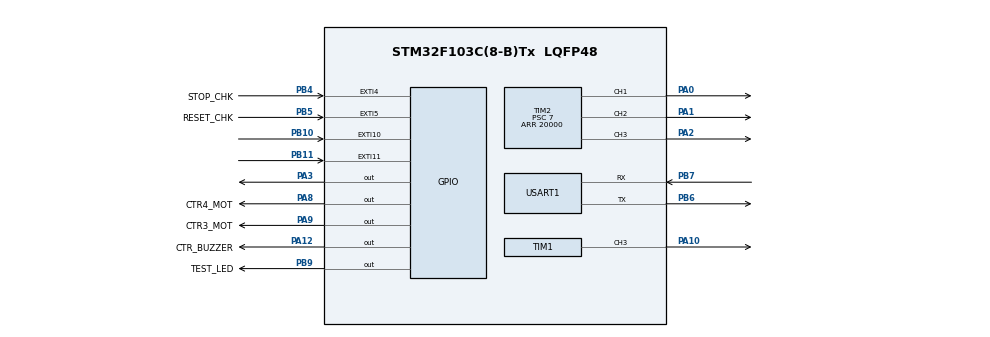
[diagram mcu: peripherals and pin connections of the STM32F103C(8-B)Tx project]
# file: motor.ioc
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FREERTOS.Tasks01=defaultTask,0,200,StartDefaultTask,Default,NULL,Dynamic,NULL,NULL;motorTask,0,200,motorTaskF,As external,NULL,Dynamic,NULL,NULL
Mcu.Family=STM32F1
Mcu.Name=STM32F103C(8-B)Tx
Mcu.Package=LQFP48
NVIC.EXTI15_10_IRQn=true\:5\:0\:true\:false\:true\:false\:true
NVIC.EXTI4_IRQn=true\:5\:0\:false\:false\:true\:true\:true
NVIC.EXTI9_5_IRQn=true\:5\:0\:false\:false\:true\:true\:true
NVIC.PriorityGroup=NVIC_PRIORITYGROUP_4
PA0-WKUP.Signal=S_TIM2_CH1_ETR
PA1.Signal=S_TIM2_CH2
PA10.Signal=S_TIM1_CH3
PA12.GPIO_Label=CTR_BUZZER
PA12.Signal=GPIO_Output
PA13.Mode=Serial_Wire
PA13.Signal=SYS_JTMS-SWDIO
PA14.Mode=Serial_Wire
PA14.Signal=SYS_JTCK-SWCLK
PA2.Signal=S_TIM2_CH3
PA3.Signal=GPIO_Output
PA8.GPIO_Label=CTR4_MOT
PA8.Signal=GPIO_Output
PA9.GPIO_Label=CTR3_MOT
PA9.Signal=GPIO_Output
PB10.GPIO_ModeDefaultEXTI=GPIO_MODE_IT_RISING_FALLING
PB10.GPIO_PuPd=GPIO_PULLDOWN
PB10.Signal=GPXTI10
PB11.GPIO_ModeDefaultEXTI=GPIO_MODE_IT_RISING_FALLING
PB11.GPIO_PuPd=GPIO_PULLDOWN
PB11.Signal=GPXTI11
PB4.GPIO_Label=STOP_CHK
PB4.GPIO_ModeDefaultEXTI=GPIO_MODE_IT_FALLING
PB4.GPIO_PuPd=GPIO_PULLUP
PB4.Signal=GPXTI4
PB5.GPIO_Label=RESET_CHK
PB5.GPIO_ModeDefaultEXTI=GPIO_MODE_IT_FALLING
PB5.GPIO_PuPd=GPIO_PULLUP
PB5.Signal=GPXTI5
PB6.Mode=Asynchronous
PB6.Signal=USART1_TX
PB7.Mode=Asynchronous
PB7.Signal=USART1_RX
PB9.GPIO_Label=TEST_LED
PB9.Signal=GPIO_Output
ProjectManager.HeapSize=0x200
ProjectManager.StackSize=0x400
ProjectManager.TargetToolchain=MDK-ARM V5
RCC.APB1Freq_Value=8000000
RCC.APB2Freq_Value=8000000
SH.S_TIM1_CH3.0=TIM1_CH3,PWM Generation3 CH3
SH.S_TIM2_CH1_ETR.0=TIM2_CH1,PWM Generation1 CH1
SH.S_TIM2_CH2.0=TIM2_CH2,PWM Generation2 CH2
SH.S_TIM2_CH3.0=TIM2_CH3,PWM Generation3 CH3
TIM1.AutoReloadPreload=TIM_AUTORELOAD_PRELOAD_ENABLE
TIM1.Channel-PWM\ Generation3\ CH3=TIM_CHANNEL_3
TIM1.Period=20000
TIM1.Prescaler=7
TIM1.Pulse-PWM\ Generation3\ CH3=2200
TIM2.AutoReloadPreload=TIM_AUTORELOAD_PRELOAD_ENABLE
TIM2.Channel-PWM\ Generation1\ CH1=TIM_CHANNEL_1
TIM2.Channel-PWM\ Generation2\ CH2=TIM_CHANNEL_2
TIM2.Channel-PWM\ Generation3\ CH3=TIM_CHANNEL_3
TIM2.Period=20000
TIM2.Prescaler=7
TIM2.Pulse-PWM\ Generation1\ CH1=1100
TIM2.Pulse-PWM\ Generation2\ CH2=1100
TIM2.Pulse-PWM\ Generation3\ CH3=1900
TIM3.AutoReloadPreload=TIM_AUTORELOAD_PRELOAD_ENABLE
TIM3.CounterMode=TIM_COUNTERMODE_UP
TIM3.Period=6000
TIM3.Prescaler=799
TIM4.AutoReloadPreload=TIM_AUTORELOAD_PRELOAD_ENABLE
TIM4.Period=6000
TIM4.Prescaler=799
USART1.VirtualMode=VM_ASYNC
VP_FREERTOS_VS_ENABLE.Mode=Enabled
VP_RTC_VS_RTC_Activate.Mode=RTC_Enabled
VP_TIM1_VS_ClockSourceINT.Mode=Internal
VP_TIM3_VS_ClockSourceINT.Mode=Internal
VP_TIM4_VS_ClockSourceINT.Mode=Internal
board=motor

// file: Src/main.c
/**
  ******************************************************************************
  * @file           : main.c
  * @brief          : Main program body
  ******************************************************************************
  * This notice applies to any and all portions of this file
  * that are not between comment pairs USER CODE BEGIN and
  * USER CODE END. Other portions of this file, whether
  * inserted by the user or by software development tools
  * are owned by their respective copyright owners.
  *
  * Copyright (c) 2018 STMicroelectronics International N.V.
  * All rights reserved.
  *
  * Redistribution and use in source and binary forms, with or without
  * modification, are permitted, provided that the following conditions are met:
  *
  * 1. Redistribution of source code must retain the above copyright notice,
  *    this list of conditions and the following disclaimer.
  * 2. Redistributions in binary form must reproduce the above copyright notice,
  *    this list of conditions and the following disclaimer in the documentation
  *    and/or other materials provided with the distribution.
  * 3. Neither the name of STMicroelectronics nor the names of other
  *    contributors to this software may be used to endorse or promote products
  *    derived from this software without specific written permission.
  * 4. This software, including modifications and/or derivative works of this
  *    software, must execute solely and exclusively on microcontroller or
  *    microprocessor devices manufactured by or for STMicroelectronics.
  * 5. Redistribution and use of this software other than as permitted under
  *    this license is void and will automatically terminate your rights under
  *    this license.
  *
  * THIS SOFTWARE IS PROVIDED BY STMICROELECTRONICS AND CONTRIBUTORS "AS IS"
  * AND ANY EXPRESS, IMPLIED OR STATUTORY WARRANTIES, INCLUDING, BUT NOT
  * LIMITED TO, THE IMPLIED WARRANTIES OF MERCHANTABILITY, FITNESS FOR A
  * PARTICULAR PURPOSE AND NON-INFRINGEMENT OF THIRD PARTY INTELLECTUAL PROPERTY
  * RIGHTS ARE DISCLAIMED TO THE FULLEST EXTENT PERMITTED BY LAW. IN NO EVENT
  * SHALL STMICROELECTRONICS OR CONTRIBUTORS BE LIABLE FOR ANY DIRECT, INDIRECT,
  * INCIDENTAL, SPECIAL, EXEMPLARY, OR CONSEQUENTIAL DAMAGES (INCLUDING, BUT NOT
  * LIMITED TO, PROCUREMENT OF SUBSTITUTE GOODS OR SERVICES; LOSS OF USE, DATA,
  * OR PROFITS; OR BUSINESS INTERRUPTION) HOWEVER CAUSED AND ON ANY THEORY OF
  * LIABILITY, WHETHER IN CONTRACT, STRICT LIABILITY, OR TORT (INCLUDING
  * NEGLIGENCE OR OTHERWISE) ARISING IN ANY WAY OUT OF THE USE OF THIS SOFTWARE,
  * EVEN IF ADVISED OF THE POSSIBILITY OF SUCH DAMAGE.
  *
  ******************************************************************************
  */
#include "main.h"
#include "stm32f1xx_hal.h"
#include "cmsis_os.h"

/* USER CODE BEGIN Includes */
#include "typedef.h"
#include "signal.h"
#include "servo.h"
#include "command.h"

/* USER CODE END Includes */

RTC_HandleTypeDef hrtc;

TIM_HandleTypeDef htim1;
TIM_HandleTypeDef htim2;
TIM_HandleTypeDef htim3;
TIM_HandleTypeDef htim4;

UART_HandleTypeDef huart1;

osThreadId defaultTaskHandle;
osThreadId motorTaskHandle;

/* USER CODE BEGIN PV */
/* Private variables ---------------------------------------------------------*/
#define TEST_DEBUG 0

/* USER CODE END PV */

void SystemClock_Config(void);
static void MX_GPIO_Init(void);
static void MX_RTC_Init(void);
static void MX_TIM2_Init(void);
static void MX_TIM3_Init(void);
static void MX_TIM1_Init(void);
static void MX_TIM4_Init(void);
static void MX_USART1_UART_Init(void);
void StartDefaultTask(void const * argument);
extern void motorTaskF(void const * argument);

void HAL_TIM_MspPostInit(TIM_HandleTypeDef *htim);

/* USER CODE BEGIN PFP */
/* Private function prototypes -----------------------------------------------*/

/* USER CODE END PFP */

int main(void)
{

  /* MCU Configuration----------------------------------------------------------*/

  /* Reset of all peripherals, Initializes the Flash interface and the Systick. */
  HAL_Init();

  /* Configure the system clock */
  SystemClock_Config();

  /* Initialize all configured peripherals */
  MX_GPIO_Init();
  MX_RTC_Init();
  MX_TIM2_Init();
  MX_TIM3_Init();
  MX_TIM1_Init();

  MX_TIM4_Init();
  MX_USART1_UART_Init();

  /* Create the thread(s) */
  /* definition and creation of defaultTask */
  osThreadDef(defaultTask, StartDefaultTask, osPriorityNormal, 0, 200);
  defaultTaskHandle = osThreadCreate(osThread(defaultTask), NULL);

  /* definition and creation of motorTask */
  osThreadDef(motorTask, motorTaskF, osPriorityNormal, 0, 200);
  motorTaskHandle = osThreadCreate(osThread(motorTask), NULL);

  /* Start scheduler */
  osKernelStart();

  /* We should never get here as control is now taken by the scheduler */

  /* Infinite loop */
  while (1)
  {

  }

}

void SystemClock_Config(void)
{

  RCC_OscInitTypeDef RCC_OscInitStruct;
  RCC_ClkInitTypeDef RCC_ClkInitStruct;
  RCC_PeriphCLKInitTypeDef PeriphClkInit;

    /**Initializes the CPU, AHB and APB busses clocks
    */
  RCC_OscInitStruct.OscillatorType = RCC_OSCILLATORTYPE_HSI|RCC_OSCILLATORTYPE_LSI;
  RCC_OscInitStruct.HSIState = RCC_HSI_ON;
  RCC_OscInitStruct.HSICalibrationValue = 16;
  RCC_OscInitStruct.LSIState = RCC_LSI_ON;
  RCC_OscInitStruct.PLL.PLLState = RCC_PLL_NONE;
  if (HAL_RCC_OscConfig(&RCC_OscInitStruct) != HAL_OK)
  {
    _Error_Handler(__FILE__, __LINE__);
  }

    /**Initializes the CPU, AHB and APB busses clocks
    */
  RCC_ClkInitStruct.ClockType = RCC_CLOCKTYPE_HCLK|RCC_CLOCKTYPE_SYSCLK
                              |RCC_CLOCKTYPE_PCLK1|RCC_CLOCKTYPE_PCLK2;
  RCC_ClkInitStruct.SYSCLKSource = RCC_SYSCLKSOURCE_HSI;
  RCC_ClkInitStruct.AHBCLKDivider = RCC_SYSCLK_DIV1;
  RCC_ClkInitStruct.APB1CLKDivider = RCC_HCLK_DIV1;
  RCC_ClkInitStruct.APB2CLKDivider = RCC_HCLK_DIV1;

  if (HAL_RCC_ClockConfig(&RCC_ClkInitStruct, FLASH_LATENCY_0) != HAL_OK)
  {
    _Error_Handler(__FILE__, __LINE__);
  }

  PeriphClkInit.PeriphClockSelection = RCC_PERIPHCLK_RTC;
  PeriphClkInit.RTCClockSelection = RCC_RTCCLKSOURCE_LSI;
  if (HAL_RCCEx_PeriphCLKConfig(&PeriphClkInit) != HAL_OK)
  {
    _Error_Handler(__FILE__, __LINE__);
  }

    /**Configure the Systick interrupt time
    */
  HAL_SYSTICK_Config(HAL_RCC_GetHCLKFreq()/1000);

    /**Configure the Systick
    */
  HAL_SYSTICK_CLKSourceConfig(SYSTICK_CLKSOURCE_HCLK);

  /* SysTick_IRQn interrupt configuration */
  HAL_NVIC_SetPriority(SysTick_IRQn, 15, 0);
}

/* RTC init function */
static void MX_RTC_Init(void)
{

    /**Initialize RTC Only
    */
  hrtc.Instance = RTC;
  hrtc.Init.AsynchPrediv = RTC_AUTO_1_SECOND;
  hrtc.Init.OutPut = RTC_OUTPUTSOURCE_ALARM;
  if (HAL_RTC_Init(&hrtc) != HAL_OK)
  {
    _Error_Handler(__FILE__, __LINE__);
  }

}

/* TIM1 init function */
static void MX_TIM1_Init(void)
{

  TIM_ClockConfigTypeDef sClockSourceConfig;
  TIM_MasterConfigTypeDef sMasterConfig;
  TIM_OC_InitTypeDef sConfigOC;
  TIM_BreakDeadTimeConfigTypeDef sBreakDeadTimeConfig;

  htim1.Instance = TIM1;
  htim1.Init.Prescaler = 7;
  htim1.Init.CounterMode = TIM_COUNTERMODE_UP;
  htim1.Init.Period = 20000;
  htim1.Init.ClockDivision = TIM_CLOCKDIVISION_DIV1;
  htim1.Init.RepetitionCounter = 0;
  htim1.Init.AutoReloadPreload = TIM_AUTORELOAD_PRELOAD_ENABLE;
  if (HAL_TIM_Base_Init(&htim1) != HAL_OK)
  {
    _Error_Handler(__FILE__, __LINE__);
  }

  sClockSourceConfig.ClockSource = TIM_CLOCKSOURCE_INTERNAL;
  if (HAL_TIM_ConfigClockSource(&htim1, &sClockSourceConfig) != HAL_OK)
  {
    _Error_Handler(__FILE__, __LINE__);
  }

  if (HAL_TIM_PWM_Init(&htim1) != HAL_OK)
  {
    _Error_Handler(__FILE__, __LINE__);
  }

  sMasterConfig.MasterOutputTrigger = TIM_TRGO_RESET;
  sMasterConfig.MasterSlaveMode = TIM_MASTERSLAVEMODE_DISABLE;
  if (HAL_TIMEx_MasterConfigSynchronization(&htim1, &sMasterConfig) != HAL_OK)
  {
    _Error_Handler(__FILE__, __LINE__);
  }

  sConfigOC.OCMode = TIM_OCMODE_PWM1;
  sConfigOC.Pulse = 2200;
  sConfigOC.OCPolarity = TIM_OCPOLARITY_HIGH;
  sConfigOC.OCNPolarity = TIM_OCNPOLARITY_HIGH;
  sConfigOC.OCFastMode = TIM_OCFAST_DISABLE;
  sConfigOC.OCIdleState = TIM_OCIDLESTATE_RESET;
  sConfigOC.OCNIdleState = TIM_OCNIDLESTATE_RESET;
  if (HAL_TIM_PWM_ConfigChannel(&htim1, &sConfigOC, TIM_CHANNEL_3) != HAL_OK)
  {
    _Error_Handler(__FILE__, __LINE__);
  }

  sBreakDeadTimeConfig.OffStateRunMode = TIM_OSSR_DISABLE;
  sBreakDeadTimeConfig.OffStateIDLEMode = TIM_OSSI_DISABLE;
  sBreakDeadTimeConfig.LockLevel = TIM_LOCKLEVEL_OFF;
  sBreakDeadTimeConfig.DeadTime = 0;
  sBreakDeadTimeConfig.BreakState = TIM_BREAK_DISABLE;
  sBreakDeadTimeConfig.BreakPolarity = TIM_BREAKPOLARITY_HIGH;
  sBreakDeadTimeConfig.AutomaticOutput = TIM_AUTOMATICOUTPUT_DISABLE;
  if (HAL_TIMEx_ConfigBreakDeadTime(&htim1, &sBreakDeadTimeConfig) != HAL_OK)
  {
    _Error_Handler(__FILE__, __LINE__);
  }

  HAL_TIM_MspPostInit(&htim1);

}

/* TIM2 init function */
static void MX_TIM2_Init(void)
{

  TIM_MasterConfigTypeDef sMasterConfig;
  TIM_OC_InitTypeDef sConfigOC;

  htim2.Instance = TIM2;
  htim2.Init.Prescaler = 7;
  htim2.Init.CounterMode = TIM_COUNTERMODE_UP;
  htim2.Init.Period = 20000;
  htim2.Init.ClockDivision = TIM_CLOCKDIVISION_DIV1;
  htim2.Init.AutoReloadPreload = TIM_AUTORELOAD_PRELOAD_ENABLE;
  if (HAL_TIM_PWM_Init(&htim2) != HAL_OK)
  {
    _Error_Handler(__FILE__, __LINE__);
  }

  sMasterConfig.MasterOutputTrigger = TIM_TRGO_RESET;
  sMasterConfig.MasterSlaveMode = TIM_MASTERSLAVEMODE_DISABLE;
  if (HAL_TIMEx_MasterConfigSynchronization(&htim2, &sMasterConfig) != HAL_OK)
  {
    _Error_Handler(__FILE__, __LINE__);
  }

  sConfigOC.OCMode = TIM_OCMODE_PWM1;
  sConfigOC.Pulse = 1100;
  sConfigOC.OCPolarity = TIM_OCPOLARITY_HIGH;
  sConfigOC.OCFastMode = TIM_OCFAST_DISABLE;
  if (HAL_TIM_PWM_ConfigChannel(&htim2, &sConfigOC, TIM_CHANNEL_1) != HAL_OK)
  {
    _Error_Handler(__FILE__, __LINE__);
  }

  if (HAL_TIM_PWM_ConfigChannel(&htim2, &sConfigOC, TIM_CHANNEL_2) != HAL_OK)
  {
    _Error_Handler(__FILE__, __LINE__);
  }

  sConfigOC.Pulse = 1900;
  if (HAL_TIM_PWM_ConfigChannel(&htim2, &sConfigOC, TIM_CHANNEL_3) != HAL_OK)
  {
    _Error_Handler(__FILE__, __LINE__);
  }

  HAL_TIM_MspPostInit(&htim2);

}

/* TIM3 init function */
static void MX_TIM3_Init(void)
{

  TIM_ClockConfigTypeDef sClockSourceConfig;
  TIM_MasterConfigTypeDef sMasterConfig;

  htim3.Instance = TIM3;
  htim3.Init.Prescaler = 799;
  htim3.Init.CounterMode = TIM_COUNTERMODE_UP;
  htim3.Init.Period = 6000;
  htim3.Init.ClockDivision = TIM_CLOCKDIVISION_DIV1;
  htim3.Init.AutoReloadPreload = TIM_AUTORELOAD_PRELOAD_ENABLE;
  if (HAL_TIM_Base_Init(&htim3) != HAL_OK)
  {
    _Error_Handler(__FILE__, __LINE__);
  }

  sClockSourceConfig.ClockSource = TIM_CLOCKSOURCE_INTERNAL;
  if (HAL_TIM_ConfigClockSource(&htim3, &sClockSourceConfig) != HAL_OK)
  {
    _Error_Handler(__FILE__, __LINE__);
  }

  sMasterConfig.MasterOutputTrigger = TIM_TRGO_RESET;
  sMasterConfig.MasterSlaveMode = TIM_MASTERSLAVEMODE_DISABLE;
  if (HAL_TIMEx_MasterConfigSynchronization(&htim3, &sMasterConfig) != HAL_OK)
  {
    _Error_Handler(__FILE__, __LINE__);
  }

}

/* TIM4 init function */
static void MX_TIM4_Init(void)
{

  TIM_ClockConfigTypeDef sClockSourceConfig;
  TIM_MasterConfigTypeDef sMasterConfig;

  htim4.Instance = TIM4;
  htim4.Init.Prescaler = 799;
  htim4.Init.CounterMode = TIM_COUNTERMODE_UP;
  htim4.Init.Period = 6000;
  htim4.Init.ClockDivision = TIM_CLOCKDIVISION_DIV1;
  htim4.Init.AutoReloadPreload = TIM_AUTORELOAD_PRELOAD_ENABLE;
  if (HAL_TIM_Base_Init(&htim4) != HAL_OK)
  {
    _Error_Handler(__FILE__, __LINE__);
  }

  sClockSourceConfig.ClockSource = TIM_CLOCKSOURCE_INTERNAL;
  if (HAL_TIM_ConfigClockSource(&htim4, &sClockSourceConfig) != HAL_OK)
  {
    _Error_Handler(__FILE__, __LINE__);
  }

  sMasterConfig.MasterOutputTrigger = TIM_TRGO_RESET;
  sMasterConfig.MasterSlaveMode = TIM_MASTERSLAVEMODE_DISABLE;
  if (HAL_TIMEx_MasterConfigSynchronization(&htim4, &sMasterConfig) != HAL_OK)
  {
    _Error_Handler(__FILE__, __LINE__);
  }

}

/* USART1 init function */
static void MX_USART1_UART_Init(void)
{

  huart1.Instance = USART1;
  huart1.Init.BaudRate = 115200;
  huart1.Init.WordLength = UART_WORDLENGTH_8B;
  huart1.Init.StopBits = UART_STOPBITS_1;
  huart1.Init.Parity = UART_PARITY_NONE;
  huart1.Init.Mode = UART_MODE_TX_RX;
  huart1.Init.HwFlowCtl = UART_HWCONTROL_NONE;
  huart1.Init.OverSampling = UART_OVERSAMPLING_16;
  if (HAL_UART_Init(&huart1) != HAL_OK)
  {
    _Error_Handler(__FILE__, __LINE__);
  }

}

/** Configure pins as
        * Analog
        * Input
        * Output
        * EVENT_OUT
        * EXTI
*/
static void MX_GPIO_Init(void)
{

  GPIO_InitTypeDef GPIO_InitStruct;

  /* GPIO Ports Clock Enable */
  __HAL_RCC_GPIOA_CLK_ENABLE();
  __HAL_RCC_GPIOB_CLK_ENABLE();

  /*Configure GPIO pin Output Level */
  HAL_GPIO_WritePin(GPIOA, GPIO_PIN_3|CTR4_MOT_Pin|CTR3_MOT_Pin|CTR_BUZZER_Pin, GPIO_PIN_RESET);

  /*Configure GPIO pin Output Level */
  HAL_GPIO_WritePin(TEST_LED_GPIO_Port, TEST_LED_Pin, GPIO_PIN_RESET);

  /*Configure GPIO pins : PA3 CTR4_MOT_Pin CTR3_MOT_Pin CTR_BUZZER_Pin */
  GPIO_InitStruct.Pin = GPIO_PIN_3|CTR4_MOT_Pin|CTR3_MOT_Pin|CTR_BUZZER_Pin;
  GPIO_InitStruct.Mode = GPIO_MODE_OUTPUT_PP;
  GPIO_InitStruct.Speed = GPIO_SPEED_FREQ_LOW;
  HAL_GPIO_Init(GPIOA, &GPIO_InitStruct);

  /*Configure GPIO pins : PB10 PB11 */
  GPIO_InitStruct.Pin = GPIO_PIN_10|GPIO_PIN_11;
  GPIO_InitStruct.Mode = GPIO_MODE_IT_RISING_FALLING;
  GPIO_InitStruct.Pull = GPIO_PULLDOWN;
  HAL_GPIO_Init(GPIOB, &GPIO_InitStruct);

  /*Configure GPIO pins : STOP_CHK_Pin RESET_CHK_Pin */
  GPIO_InitStruct.Pin = STOP_CHK_Pin|RESET_CHK_Pin;
  GPIO_InitStruct.Mode = GPIO_MODE_IT_FALLING;
  GPIO_InitStruct.Pull = GPIO_PULLUP;
  HAL_GPIO_Init(GPIOB, &GPIO_InitStruct);

  /*Configure GPIO pin : TEST_LED_Pin */
  GPIO_InitStruct.Pin = TEST_LED_Pin;
  GPIO_InitStruct.Mode = GPIO_MODE_OUTPUT_PP;
  GPIO_InitStruct.Speed = GPIO_SPEED_FREQ_LOW;
  HAL_GPIO_Init(TEST_LED_GPIO_Port, &GPIO_InitStruct);

  /* EXTI interrupt init*/
  HAL_NVIC_SetPriority(EXTI4_IRQn, 5, 0);
  HAL_NVIC_EnableIRQ(EXTI4_IRQn);

  HAL_NVIC_SetPriority(EXTI9_5_IRQn, 5, 0);
  HAL_NVIC_EnableIRQ(EXTI9_5_IRQn);

  HAL_NVIC_SetPriority(EXTI15_10_IRQn, 5, 0);
  HAL_NVIC_EnableIRQ(EXTI15_10_IRQn);

}

/* USER CODE BEGIN 4 */
U32 timer, testCnt=0;

/* USER CODE END 4 */

/* StartDefaultTask function */
void StartDefaultTask(void const * argument)
{

  /* USER CODE BEGIN 5 */

  HAL_TIM_PWM_Start(&htim2,TIM_CHANNEL_1);
  HAL_TIM_PWM_Start(&htim2,TIM_CHANNEL_2);
  HAL_TIM_PWM_Start(&htim2,TIM_CHANNEL_3);

  /* Infinite loop */
  for(;;)
  {
   /*feed watchdog*/
	//HAL_IWDG_Refresh (&hiwdg);

  	timer = __HAL_TIM_GET_COUNTER (&htim3);
  	signalFilterHandleF ();

#if TEST_DEBUG
	if (testCnt >= 150)
	{
		testCnt = 0;
		addCmd2ListF (RUN_STATE);
	}
	else
	{
		testCnt++;
	}
#endif

    osDelay(20);
    //HAL_GPIO_WritePin (GPIOA, GPIO_PIN_3, GPIO_PIN_SET);
    //printf("idle task!\n");
  }
  /* USER CODE END 5 */
}

void _Error_Handler(char *file, int line)
{
  while(1)
  {
  }
}

/************************ (C) COPYRIGHT STMicroelectronics *****END OF FILE****/
